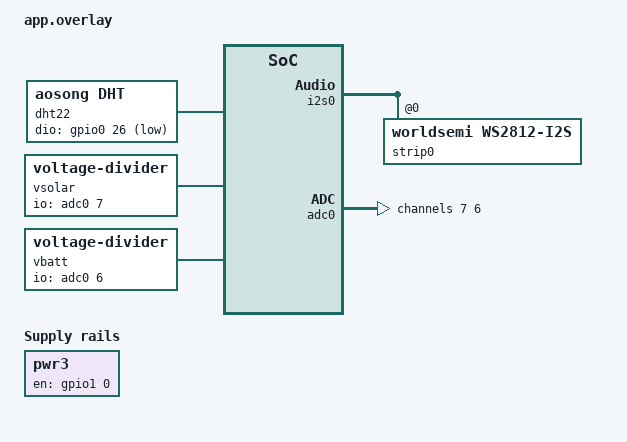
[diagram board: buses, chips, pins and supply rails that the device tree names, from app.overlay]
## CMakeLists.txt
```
cmake_minimum_required(VERSION 3.20.0)

find_package(Zephyr REQUIRED HINTS $ENV{ZEPHYR_BASE})
project(solar-node)

target_sources(app PRIVATE 
    src/main.cpp
    src/wifi_autoconnect.c
    src/mqtt_client.c
    src/dht_sensor.c
    src/output_control.c
    src/battery_soc.c
)
```

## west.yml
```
manifest:
  remotes:
    - name: zephyrproject-rtos
      url-base: https://github.com/zephyrproject-rtos
  projects:
    - name: zephyr
      remote: zephyrproject-rtos
      revision: v4.4.0
      import: true
  self:
    path: solar-node
```

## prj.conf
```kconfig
# Console & Logging Configuration
CONFIG_CONSOLE=y
CONFIG_UART_CONSOLE=y
CONFIG_LOG=y
CONFIG_LOG_DEFAULT_LEVEL=3

# Zephyr Shell over UART
CONFIG_SHELL=y
CONFIG_SHELL_BACKEND_SERIAL=y
CONFIG_SHELL_PROMPT_UART="solar-node:~$ "
CONFIG_SHELL_BACKEND_SERIAL_CHECK_DTR=n
CONFIG_SHELL_VT100_COMMANDS=n
CONFIG_LOG_BACKEND_SHOW_COLOR=n
CONFIG_NET_SHELL=y
CONFIG_NET_L2_WIFI_SHELL=y

# Subsystem Dependencies
CONFIG_GPIO=y

# Stack & Heap Sizes
CONFIG_MAIN_STACK_SIZE=8192

# C++ Support
CONFIG_CPP=y
CONFIG_STD_CPP17=y
CONFIG_GLIBCXX_LIBCPP=y

CONFIG_LED_STRIP=y
CONFIG_I2S=y
CONFIG_WS2812_STRIP_I2S=y

CONFIG_I2C=y

CONFIG_CBPRINTF_FP_SUPPORT=y

# Networking & WiFi 
CONFIG_EARLY_CONSOLE=y
CONFIG_NETWORKING=y
CONFIG_TEST_RANDOM_GENERATOR=y

# Stack Sizes for Networking
CONFIG_NET_TX_STACK_SIZE=2048
CONFIG_NET_RX_STACK_SIZE=2048

# Network Buffers and Contexts
CONFIG_NET_PKT_RX_COUNT=10
CONFIG_NET_PKT_TX_COUNT=20
CONFIG_NET_BUF_RX_COUNT=20
CONFIG_NET_BUF_TX_COUNT=40
CONFIG_NET_MAX_CONTEXTS=10

# IPv4 and DHCP
CONFIG_NET_IPV4=y
CONFIG_NET_DHCPV4=y

# TCP/IP Protocols
CONFIG_NET_TCP=y
CONFIG_NET_UDP=y

# WiFi Configuration
CONFIG_WIFI=y
CONFIG_WIFI_LOG_LEVEL_INF=y
CONFIG_NET_L2_WIFI_MGMT=y
CONFIG_NET_L2_ETHERNET=y

# ESP32 WiFi Station Mode (Auto DHCP)
CONFIG_ESP32_WIFI_STA_AUTO_DHCPV4=y
CONFIG_ESP32_WIFI_STA_RECONNECT=n

# Event Queue Management
CONFIG_NET_MGMT_EVENT_QUEUE_TIMEOUT=5000
CONFIG_NET_MGMT_EVENT_QUEUE_SIZE=16

# DNS Resolver
CONFIG_DNS_RESOLVER=y
CONFIG_DNS_RESOLVER_AUTO_INIT=y

# MQTT Configuration (Phase 3)
CONFIG_MQTT_LIB=y

# Power Management (Phase 4) - Disabled for now due to linking issues
# CONFIG_PM=y
# CONFIG_PM_DEVICE=y

# ADC Configuration (Phase 2)
CONFIG_ADC=y
CONFIG_SENSOR=y

# Voltage-divider sensor driver — auto-enabled by DT nodes; explicit for clarity (Phase 3)
CONFIG_VOLTAGE_DIVIDER=y

# DHT22 Temperature & Humidity (Phase 1)
CONFIG_DHT=y

# Pwr 3 MOSFET switch via regulator-fixed (Phase 2)
CONFIG_REGULATOR=y
CONFIG_REGULATOR_SHELL=y
```

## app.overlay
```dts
#include <zephyr/dt-bindings/led/led.h>
#include <zephyr/dt-bindings/pinctrl/esp32-pinctrl.h>
#include <zephyr/dt-bindings/adc/adc.h>
#include <zephyr/dt-bindings/gpio/gpio.h>

/ {
	aliases {
		led-strip = &strip0;
	};

	dht22: dht22 {
		compatible = "aosong,dht";
		dio-gpios = <&gpio0 26 (GPIO_ACTIVE_LOW | GPIO_OPEN_DRAIN)>;
		dht22;
		status = "okay";
	};

	/* Solar panel input voltage: J2 / IO35, ADC1 ch7.
	 * Physical divider: R_bottom = 10kΩ, R_top = 100kΩ → ratio 11.0×.
	 * Note: readings may not match multimeter due to resistor tolerances and
	 * ESP32 ADC non-linearity. Recalibrate full-ohms against a known voltage if needed. */
	vsolar: vsolar {
		compatible = "voltage-divider";
		io-channels = <&adc0 7>;
		output-ohms = <10000>;
		full-ohms = <110000>;
		skip-calibration;
		status = "okay";
	};

	/* Battery voltage: J3 / IO34, ADC1 ch6.
	 * Physical divider: R_bottom = 10kΩ, R_top = 47kΩ → ratio 5.7×. */
	vbatt: vbatt {
		compatible = "voltage-divider";
		io-channels = <&adc0 6>;
		output-ohms = <10000>;
		full-ohms = <57000>;
		skip-calibration;
		status = "okay";
	};

	/* Pwr 3 (J16) — N-channel MOSFET low-side switch on IO32 (gpio1 pin 0).
	 * Exposed as a regulator so it is controllable from the shell:
	 *   regulator enable pwr3
	 *   regulator disable pwr3 */
	pwr3: pwr3 {
		compatible = "regulator-fixed";
		regulator-name = "pwr3";
		enable-gpios = <&gpio1 0 GPIO_ACTIVE_HIGH>;
		status = "okay";
	};
};

&i2s0_default {
	group1 {
		pinmux = <I2S0_O_WS_GPIO16>,
			 <I2S0_O_BCK_GPIO4>,
			 <I2S0_O_SD_GPIO2>,
			 <I2S0_I_SD_GPIO17>;
	};
};

&i2s0 {
	status = "okay";

	strip0: ws2812@0 {
		compatible = "worldsemi,ws2812-i2s";
		reg = <0>;
		chain-length = <1>;
		color-mapping = <LED_COLOR_ID_GREEN
				 LED_COLOR_ID_RED
				 LED_COLOR_ID_BLUE>;
		reset-delay = <500>;
	};
};

&adc0 {
	status = "okay";
	#address-cells = <1>;
	#size-cells = <0>;

	/* Solar Panel Voltage: J2 Header -> IO35 (ADC1 Channel 7)
	 * Referenced by vsolar voltage-divider node. */
	channel@7 {
		reg = <7>;
		zephyr,gain = "ADC_GAIN_1_4";
		zephyr,reference = "ADC_REF_INTERNAL";
		zephyr,acquisition-time = <ADC_ACQ_TIME_DEFAULT>;
		zephyr,resolution = <12>;
	};

	/* Battery Voltage: J3 Header -> IO34 (ADC1 Channel 6)
	 * Referenced by vbatt voltage-divider node. */
	channel@6 {
		reg = <6>;
		zephyr,gain = "ADC_GAIN_1_4";
		zephyr,reference = "ADC_REF_INTERNAL";
		zephyr,acquisition-time = <ADC_ACQ_TIME_DEFAULT>;
		zephyr,resolution = <12>;
	};
};
```

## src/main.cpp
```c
#include <zephyr/kernel.h>
#include <zephyr/drivers/led_strip.h>
#include <zephyr/drivers/gpio.h>
#include <zephyr/drivers/i2s.h>
#include <zephyr/logging/log.h>

#include "wifi_autoconnect.h"
#include "mqtt_client.h"

LOG_MODULE_REGISTER(app, LOG_LEVEL_INF);

static const struct device *const strip = DEVICE_DT_GET(DT_ALIAS(led_strip));
static const struct device *const i2s_dev = DEVICE_DT_GET(DT_NODELABEL(i2s0));

static struct led_rgb pixel_buf[4];

/* LED blink thread to isolate I2S timing from other workers. */
static struct k_thread led_thread_data;
K_THREAD_STACK_DEFINE(led_thread_stack, 1024);

static void led_blink_thread(void *p1, void *p2, void *p3)
{
    ARG_UNUSED(p1);
    ARG_UNUSED(p2);
    ARG_UNUSED(p3);

    bool blink_on = false;
    bool last_connected = false;

    while (1) {
        bool connected = wifi_autoconnect_is_connected();
        if (connected != last_connected) {
            last_connected = connected;
            blink_on = false;
        }

        blink_on = !blink_on;
        if (blink_on) {
            if (connected) {
                pixel_buf[0].r = 0x00;
                pixel_buf[0].g = 0x00;
                pixel_buf[0].b = 0x80;
            } else {
                pixel_buf[0].r = 0x00;
                pixel_buf[0].g = 0x80;
                pixel_buf[0].b = 0x00;
            }
        } else {
            pixel_buf[0].r = 0x00;
            pixel_buf[0].g = 0x00;
            pixel_buf[0].b = 0x00;
        }

        int ret = 0;
        /* Try a few times to recover from transient I/O errors. */
        for (int attempt = 0; attempt < 3; attempt++) {
            ret = led_strip_update_rgb(strip, pixel_buf, 1);
            if (ret == 0) {
                break;
            }
            LOG_ERR("led_strip_update_rgb(blink) failed (attempt %d): %d", attempt + 1, ret);
            k_msleep(50);
        }
        /* If all retries failed the I2S state machine is in ERROR. Use
         * I2S_TRIGGER_PREPARE to reset it back to READY so the next
         * blink attempt can succeed. */
        if (ret != 0) {
            i2s_trigger(i2s_dev, I2S_DIR_TX, I2S_TRIGGER_PREPARE);
        }

        k_msleep(500);
    }
}

int main(void) {
    if (!device_is_ready(strip)) {
        LOG_ERR("LED strip device is not ready");
        return 0;
    }

    LOG_INF("=== Solar Node Starting ===");
    LOG_INF("LED strip ready; WiFi auto-connect is enabled");
    LOG_INF("Shell is still available for diagnostics:");
    LOG_INF("  wifi status");
    LOG_INF("  net iface");

    int auto_connect_ret = wifi_autoconnect_start();
    if (auto_connect_ret) {
        LOG_WRN("Auto-connect request failed: %d", auto_connect_ret);
    }

    /* Initialize the Solar MQTT helper (stub implementation for now). */
    solar_mqtt_init();

    LOG_INF("LED behavior: blinking GREEN until WiFi connects, then BLUE");

    /* Start LED blink thread at slightly higher priority than telemetry workers
     * so LED timing isn't starved by network activity. */
    k_thread_create(&led_thread_data, led_thread_stack,
                    K_THREAD_STACK_SIZEOF(led_thread_stack), led_blink_thread,
                    NULL, NULL, NULL, K_PRIO_PREEMPT(6), 0, K_NO_WAIT);

    /* Main thread becomes an idle poller for WiFi/MQTT startup. */
    bool mqtt_started = false;
    bool last_connected = false;

    while (1) {
        wifi_autoconnect_poll();

        bool connected = wifi_autoconnect_is_connected();
        if (connected != last_connected) {
            last_connected = connected;
            if (connected && !mqtt_started) {
                int rc = solar_mqtt_start();
                if (rc == 0) {
                    mqtt_started = true;
                } else {
                    LOG_WRN("MQTT client failed to start: %d", rc);
                }
            }
        }

        k_msleep(200);
    }

    return 0;
}
```

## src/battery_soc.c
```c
#include "battery_soc.h"
#include <stddef.h>

/*
 * AGM / Lead-Acid 12 V discharge curve (resting open-circuit voltage).
 * Points are ordered highest to lowest voltage.
 * Linear interpolation is used between points; values outside the range
 * are clamped to 100 % (above) or 0 % (below).
 */
struct soc_point {
	float voltage;
	int   soc_pct;
};

static const struct soc_point agm_curve[] = {
	{ 12.70f, 100 },
	{ 12.50f,  90 },
	{ 12.40f,  80 },
	{ 12.20f,  70 },
	{ 12.00f,  50 },
	{ 11.90f,  40 },
	{ 11.80f,  30 },
	{ 11.70f,  20 },
	{ 11.60f,  10 },
};

#define CURVE_LEN (sizeof(agm_curve) / sizeof(agm_curve[0]))

int battery_soc_from_voltage(float v_batt)
{
	if (v_batt >= agm_curve[0].voltage) {
		return 100;
	}
	if (v_batt <= agm_curve[CURVE_LEN - 1].voltage) {
		return 0;
	}

	for (size_t i = 0; i < CURVE_LEN - 1; i++) {
		float vhi = agm_curve[i].voltage;
		float vlo = agm_curve[i + 1].voltage;

		if (v_batt <= vhi && v_batt >= vlo) {
			float frac = (v_batt - vlo) / (vhi - vlo);
			int phi = agm_curve[i].soc_pct;
			int plo = agm_curve[i + 1].soc_pct;
			return (int)(plo + frac * (float)(phi - plo) + 0.5f);
		}
	}

	return 0;
}
```

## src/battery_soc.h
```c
#ifndef SRC_BATTERY_SOC_H_
#define SRC_BATTERY_SOC_H_

/*
 * Battery State of Charge estimation for 12V Lead-Acid / AGM batteries.
 *
 * SoC is derived from resting open-circuit voltage using a piecewise linear
 * interpolation over a measured AGM discharge curve. Readings are only valid
 * when the battery is at rest (no charge or load current). Call-site code is
 * responsible for detecting the charging condition and clamping SoC to 100.
 */

/* Returns estimated SoC in the range [0, 100].
 * Clamps below 11.60 V to 0 and above 12.70 V to 100. */
int battery_soc_from_voltage(float v_batt);

#endif /* SRC_BATTERY_SOC_H_ */
```

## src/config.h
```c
#ifndef SRC_CONFIG_H_
#define SRC_CONFIG_H_

// WiFi Configuration
#define WIFI_SSID "ChlumNet"
#define WIFI_PASSWORD "W!f!P@ssword"

// MQTT Configuration
#define MQTT_BROKER_HOST "192.168.1.182"
#define MQTT_BROKER_PORT 1883
// Optional MQTT auth (leave empty to disable)
#define MQTT_USERNAME "admin"
#define MQTT_PASSWORD "deutschland"

// MQTT client identifier and Home Assistant prefix
#define MQTT_CLIENT_ID "solar_node"
#define MQTT_DISCOVERY_PREFIX "homeassistant"

// Device Configuration
#define DEVICE_ID "solar_node"
#define DEVICE_NAME "Solar Node"

#endif /* SRC_CONFIG_H_ */
```

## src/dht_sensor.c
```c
#include "dht_sensor.h"

#include <zephyr/device.h>
#include <zephyr/drivers/sensor.h>
#include <zephyr/logging/log.h>

LOG_MODULE_REGISTER(dht_sensor, LOG_LEVEL_INF);

static const struct device *const dht22_dev = DEVICE_DT_GET(DT_NODELABEL(dht22));

int dht_sensor_init(void)
{
	if (!device_is_ready(dht22_dev)) {
		LOG_ERR("DHT22 device not ready");
		return -ENODEV;
	}
	LOG_INF("DHT22 ready on IO26");
	return 0;
}

int dht_sensor_read(float *temp_c, float *humidity_pct)
{
	int rc = sensor_sample_fetch(dht22_dev);
	if (rc < 0) {
		LOG_WRN("DHT22 sample fetch failed: %d", rc);
		return rc;
	}

	struct sensor_value temp, humidity;

	rc = sensor_channel_get(dht22_dev, SENSOR_CHAN_AMBIENT_TEMP, &temp);
	if (rc < 0) {
		LOG_WRN("DHT22 temp channel read failed: %d", rc);
		return rc;
	}

	rc = sensor_channel_get(dht22_dev, SENSOR_CHAN_HUMIDITY, &humidity);
	if (rc < 0) {
		LOG_WRN("DHT22 humidity channel read failed: %d", rc);
		return rc;
	}

	/* sensor_value: val1 = integer part, val2 = micro (1e-6) fractional part */
	*temp_c       = (float)temp.val1     + (float)temp.val2     / 1000000.0f;
	*humidity_pct = (float)humidity.val1 + (float)humidity.val2 / 1000000.0f;
	return 0;
}
```

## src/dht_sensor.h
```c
#ifndef SRC_DHT_SENSOR_H_
#define SRC_DHT_SENSOR_H_

/* Returns 0 on success, negative errno on failure. */
int dht_sensor_init(void);
int dht_sensor_read(float *temp_c, float *humidity_pct);

#endif /* SRC_DHT_SENSOR_H_ */
```

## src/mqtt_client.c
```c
/* Full MQTT client: plain (non-TLS) connection with RSSI, Solar V, Battery V,
 * Battery SoC, Battery Status, Temperature, and Humidity telemetry.
 * - resolves MQTT_BROKER_HOST
 * - connects to broker, sets LWT to solar_node/availability (offline retained)
 * - reads solar/battery voltage via voltage-divider sensor nodes (vsolar, vbatt)
 * - computes battery SoC from AGM discharge curve; detects charging state
 * - reads DHT22 on IO26 for temperature and humidity
 */

#include "mqtt_client.h"
#include "config.h"
#include "wifi_autoconnect.h"
#include "dht_sensor.h"
#include "output_control.h"
#include "battery_soc.h"

#include <zephyr/kernel.h>
#include <zephyr/logging/log.h>
#include <zephyr/net/socket.h>
#include <zephyr/net/mqtt.h>
#include <zephyr/net/net_if.h>
#include <zephyr/net/net_mgmt.h>
#include <zephyr/net/wifi_mgmt.h>
#include <zephyr/drivers/sensor.h>
#include <zephyr/devicetree.h>
#include <stdint.h>
#include <stdbool.h>
#include <stddef.h>
#include <errno.h>
#include <string.h>
#include <stdio.h>

LOG_MODULE_REGISTER(solar_mqtt, LOG_LEVEL_INF);

/* Voltage sensor devices from DT voltage-divider nodes */
static const struct device *const dev_vsolar = DEVICE_DT_GET(DT_NODELABEL(vsolar));
static const struct device *const dev_vbatt  = DEVICE_DT_GET(DT_NODELABEL(vbatt));

/* AGM battery SoC thresholds */
#define BATT_FULL_VOLTAGE_V   12.70f  /* resting voltage at 100 % SoC */
#define CHARGING_SOLAR_DELTA   0.10f  /* solar must exceed battery by this to be "Charging" */

/* Buffers and client instance */
static struct mqtt_client client;
static uint8_t rx_buffer[512];
static uint8_t tx_buffer[512];

/* WiFi scan helpers */
static struct net_mgmt_event_callback scan_cb;
static struct k_sem scan_sem;
static int8_t last_rssi = INT8_MIN;

/* Worker thread that performs periodic scans, reads ADCs, and publishes telemetry */
static struct k_thread mqtt_thread_data;
K_THREAD_STACK_DEFINE(mqtt_thread_stack, 4096);

/* Separate MQTT I/O thread to process CONNACK, PINGRESP and disconnects */
static struct k_thread mqtt_io_thread_data;
K_THREAD_STACK_DEFINE(mqtt_io_thread_stack, 3072);

static bool started;
static volatile bool mqtt_connected = false;

static int mqtt_do_connect(void);

/* Reads scaled voltage from a voltage-divider sensor node.
 * The driver handles ADC channel setup, calibration, and ratio scaling. */
static int read_sensor_voltage(const struct device *dev, float *out_volts)
{
	if (!device_is_ready(dev)) {
		LOG_ERR("Voltage sensor %s not ready", dev->name);
		return -ENODEV;
	}

	int ret = sensor_sample_fetch(dev);
	if (ret < 0) {
		LOG_ERR("sensor_sample_fetch(%s) failed: %d", dev->name, ret);
		return ret;
	}

	struct sensor_value val;
	ret = sensor_channel_get(dev, SENSOR_CHAN_VOLTAGE, &val);
	if (ret < 0) {
		LOG_ERR("sensor_channel_get(%s) failed: %d", dev->name, ret);
		return ret;
	}

	/* sensor_value for SENSOR_CHAN_VOLTAGE: val1 = integer volts, val2 = µV fraction */
	*out_volts = (float)val.val1 + (float)val.val2 / 1000000.0f;
	return 0;
}

static int mqtt_socket_fd(const struct mqtt_client *c)
{
	if (c->transport.type == MQTT_TRANSPORT_NON_SECURE) {
		return c->transport.tcp.sock;
	}
#if defined(CONFIG_MQTT_LIB_TLS)
	if (c->transport.type == MQTT_TRANSPORT_SECURE) {
		return c->transport.tls.sock;
	}
#endif
	return -1;
}

static void mqtt_io_worker(void *p1, void *p2, void *p3)
{
	ARG_UNUSED(p1);
	ARG_UNUSED(p2);
	ARG_UNUSED(p3);

	while (1) {
		int fd = mqtt_socket_fd(&client);
		if (fd < 0) {
			if (wifi_autoconnect_is_connected() && started && !mqtt_connected) {
				/* WiFi is up but socket is gone — reconnect */
				k_msleep(5000);
				LOG_INF("MQTT reconnecting...");
				mqtt_do_connect();
			} else {
				k_msleep(250);
			}
			continue;
		}

		int timeout = mqtt_keepalive_time_left(&client);
		if (timeout < 0 || timeout > 1000) {
			timeout = 1000;
		}

		struct zsock_pollfd pfd = {
			.fd = fd,
			.events = ZSOCK_POLLIN,
			.revents = 0,
		};

		int prc = zsock_poll(&pfd, 1, timeout);
		if (prc < 0) {
			LOG_WRN("mqtt poll failed: %d", errno);
			k_msleep(250);
			continue;
		}

		if (prc > 0 && (pfd.revents & ZSOCK_POLLIN)) {
			int irc = mqtt_input(&client);
			if (irc && irc != -EAGAIN) {
				LOG_WRN("mqtt_input failed: %d", irc);
			}
		}

		if (prc > 0 && (pfd.revents & (ZSOCK_POLLERR | ZSOCK_POLLHUP | ZSOCK_POLLNVAL))) {
			LOG_WRN("mqtt socket event: revents=0x%x", pfd.revents);
			mqtt_connected = false;
		}

		int lrc = mqtt_live(&client);
		if (lrc && lrc != -EAGAIN) {
			LOG_WRN("mqtt_live failed: %d", lrc);
		}
	}
}

static void mqtt_publish_str(const char *topic_str, const char *payload, bool retain)
{
	struct mqtt_publish_param param;
	memset(&param, 0, sizeof(param));

	struct mqtt_utf8 topic = {
		.utf8 = (const uint8_t *)topic_str,
		.size = strlen(topic_str)
	};

	param.message.topic.topic = topic;
	param.message.topic.qos = MQTT_QOS_0_AT_MOST_ONCE;
	param.message.payload.data = (uint8_t *)payload;
	param.message.payload.len = strlen(payload);
	param.message_id = (uint16_t)(k_cycle_get_32() & 0xffff);
	param.retain_flag = retain ? 1 : 0;

	int rc = mqtt_publish(&client, &param);
	if (rc) {
		LOG_WRN("mqtt_publish to %s failed: %d", topic_str, rc);
	} else {
		LOG_INF("Published -> %s: %s", topic_str, payload);
	}
}

static void publish_telemetry(float solar_v, float battery_v,
			      int soc,
			      bool dht_ok, float temp_c, float humidity_pct)
{
	char payload[32];

	/* 1. RSSI */
	if (last_rssi != INT8_MIN) {
		snprintf(payload, sizeof(payload), "%d", last_rssi);
		mqtt_publish_str("solar_node/sensor/rssi/state", payload, false);
	}

	/* 2. Solar Voltage */
	snprintf(payload, sizeof(payload), "%.2f", solar_v);
	mqtt_publish_str("solar_node/sensor/solar_voltage/state", payload, false);

	/* 3. Battery Voltage */
	snprintf(payload, sizeof(payload), "%.2f", battery_v);
	mqtt_publish_str("solar_node/sensor/battery_voltage/state", payload, false);

	/* 4. Battery SoC — clamped to 100 when charging or at full resting voltage */
	snprintf(payload, sizeof(payload), "%d", soc);
	mqtt_publish_str("solar_node/sensor/battery_soc/state", payload, false);

	/* 5 & 6. Temperature and Humidity (skipped if DHT22 read failed) */
	if (dht_ok) {
		snprintf(payload, sizeof(payload), "%.1f", temp_c);
		mqtt_publish_str("solar_node/sensor/temperature/state", payload, false);

		snprintf(payload, sizeof(payload), "%.1f", humidity_pct);
		mqtt_publish_str("solar_node/sensor/humidity/state", payload, false);
	}
}

static void mqtt_event_handler(struct mqtt_client *const c, const struct mqtt_evt *evt)
{
	ARG_UNUSED(c);

	LOG_INF("mqtt_event_handler: type=%d result=%d", evt->type, evt->result);

	switch (evt->type) {
	case MQTT_EVT_CONNACK:
		if (evt->result == 0 && evt->param.connack.return_code == MQTT_CONNECTION_ACCEPTED) {
			LOG_INF("MQTT connected (CONNACK OK)");
			mqtt_connected = true;

			/* Availability: online (retained) */
			mqtt_publish_str("solar_node/availability", "online", true);

			/* Subscribe to the switch command topic */
			static struct mqtt_topic lights_cmd_topic = {
				.topic = MQTT_UTF8_LITERAL("solar_node/switch/lights/command"),
				.qos = MQTT_QOS_0_AT_MOST_ONCE,
			};
			struct mqtt_subscription_list lights_sub = {
				.list = &lights_cmd_topic,
				.list_count = 1,
				.message_id = 1,
			};
			int sub_rc = mqtt_subscribe(&client, &lights_sub);
			if (sub_rc) {
				LOG_WRN("mqtt_subscribe(lights command) failed: %d", sub_rc);
			} else {
				LOG_INF("Subscribed to solar_node/switch/lights/command");
			}

			/* Home Assistant Discovery */
			static const char disc_rssi[] =
				"{\"name\":\"RSSI\","
				"\"state_topic\":\"solar_node/sensor/rssi/state\","
				"\"unit_of_measurement\":\"dBm\","
				"\"device_class\":\"signal_strength\","
				"\"value_template\":\"{{ value }}\","
				"\"unique_id\":\"solar_node_rssi\","
				"\"device\":{\"identifiers\":[\"solar_node\"],\"name\":\"Solar Node\"}}";

			static const char disc_solar[] =
				"{\"name\":\"Solar Voltage\","
				"\"state_topic\":\"solar_node/sensor/solar_voltage/state\","
				"\"unit_of_measurement\":\"V\","
				"\"device_class\":\"voltage\","
				"\"suggested_display_precision\":2,"
				"\"value_template\":\"{{ value }}\","
				"\"unique_id\":\"solar_node_solar_v\","
				"\"device\":{\"identifiers\":[\"solar_node\"],\"name\":\"Solar Node\"}}";

			static const char disc_battery[] =
				"{\"name\":\"Battery Voltage\","
				"\"state_topic\":\"solar_node/sensor/battery_voltage/state\","
				"\"unit_of_measurement\":\"V\","
				"\"device_class\":\"voltage\","
				"\"suggested_display_precision\":2,"
				"\"value_template\":\"{{ value }}\","
				"\"unique_id\":\"solar_node_battery_v\","
				"\"device\":{\"identifiers\":[\"solar_node\"],\"name\":\"Solar Node\"}}";

			static const char disc_temp[] =
				"{\"name\":\"Temperature\","
				"\"state_topic\":\"solar_node/sensor/temperature/state\","
				"\"unit_of_measurement\":\"°C\","
				"\"device_class\":\"temperature\","
				"\"suggested_display_precision\":1,"
				"\"value_template\":\"{{ value }}\","
				"\"unique_id\":\"solar_node_temp\","
				"\"device\":{\"identifiers\":[\"solar_node\"],\"name\":\"Solar Node\"}}";

			static const char disc_humidity[] =
				"{\"name\":\"Humidity\","
				"\"state_topic\":\"solar_node/sensor/humidity/state\","
				"\"unit_of_measurement\":\"%\","
				"\"device_class\":\"humidity\","
				"\"suggested_display_precision\":1,"
				"\"value_template\":\"{{ value }}\","
				"\"unique_id\":\"solar_node_humidity\","
				"\"device\":{\"identifiers\":[\"solar_node\"],\"name\":\"Solar Node\"}}";

			static const char disc_lights[] =
				"{\"name\":\"Lights\","
				"\"command_topic\":\"solar_node/switch/lights/command\","
				"\"state_topic\":\"solar_node/switch/lights/state\","
				"\"payload_on\":\"ON\","
				"\"payload_off\":\"OFF\","
				"\"retain\":true,"
				"\"unique_id\":\"solar_node_lights\","
				"\"device\":{\"identifiers\":[\"solar_node\"],\"name\":\"Solar Node\"}}";

			static const char disc_battery_soc[] =
				"{\"name\":\"Battery SoC\","
				"\"state_topic\":\"solar_node/sensor/battery_soc/state\","
				"\"unit_of_measurement\":\"%\","
				"\"device_class\":\"battery\","
				"\"suggested_display_precision\":0,"
				"\"value_template\":\"{{ value }}\","
				"\"unique_id\":\"solar_node_battery_soc\","
				"\"device\":{\"identifiers\":[\"solar_node\"],\"name\":\"Solar Node\"}}";

			/* Yield between each discovery publish — rapid back-to-back sends
			 * exhaust the TCP TX buffers and cause the broker to drop the connection. */
			mqtt_publish_str("homeassistant/sensor/solar_node/rssi/config", disc_rssi, true);
			k_msleep(100);
			mqtt_publish_str("homeassistant/sensor/solar_node/solar_voltage/config", disc_solar, true);
			k_msleep(100);
			mqtt_publish_str("homeassistant/sensor/solar_node/battery_voltage/config", disc_battery, true);
			k_msleep(100);
			mqtt_publish_str("homeassistant/sensor/solar_node/temperature/config", disc_temp, true);
			k_msleep(100);
			mqtt_publish_str("homeassistant/sensor/solar_node/humidity/config", disc_humidity, true);
			k_msleep(100);
			mqtt_publish_str("homeassistant/switch/solar_node/lights/config", disc_lights, true);
			k_msleep(100);
			mqtt_publish_str("homeassistant/sensor/solar_node/battery_soc/config", disc_battery_soc, true);
			mqtt_publish_str("solar_node/switch/lights/state", "OFF", true);

		} else {
			LOG_WRN("MQTT CONNACK failed (%d) rc=%d", evt->result, evt->param.connack.return_code);
		}
		break;
	case MQTT_EVT_PUBLISH:
		{
			/* In Zephyr MQTT, payload.data is always NULL on receive.
			 * The bytes live in the TCP socket buffer and must be read
			 * with mqtt_read_publish_payload_blocking(). Drain ALL bytes
			 * regardless of topic to keep the stream in sync. */
			size_t total_len = evt->param.publish.message.payload.len;
			char payload_buf[16];
			size_t read_len = MIN(total_len, sizeof(payload_buf) - 1);

			int bytes_read = mqtt_read_publish_payload_blocking(
				&client, payload_buf, read_len);
			if (bytes_read < 0) {
				LOG_WRN("mqtt_read_publish_payload failed: %d", bytes_read);
				break;
			}
			payload_buf[bytes_read] = '\0';

			/* Drain any bytes beyond our buffer to keep the stream in sync */
			size_t remaining = total_len - (size_t)bytes_read;
			while (remaining > 0) {
				char drain[32];
				size_t chunk = MIN(remaining, sizeof(drain));
				int rc = mqtt_read_publish_payload_blocking(&client, drain, chunk);
				if (rc <= 0) {
					break;
				}
				remaining -= (size_t)rc;
			}

			const struct mqtt_topic *topic = &evt->param.publish.message.topic;
			if (topic->topic.size == strlen("solar_node/switch/lights/command") &&
			    memcmp(topic->topic.utf8, "solar_node/switch/lights/command",
				   topic->topic.size) == 0) {
				bool light_on;
				if (strcmp(payload_buf, "ON") == 0) {
					light_on = true;
				} else if (strcmp(payload_buf, "OFF") == 0) {
					light_on = false;
				} else {
					LOG_WRN("Unhandled lights payload: %s", payload_buf);
					break;
				}

				int rc = output_control_set(light_on);
				if (rc == 0) {
					mqtt_publish_str("solar_node/switch/lights/state",
							 light_on ? "ON" : "OFF", true);
				}
			}
		}
		break;
	case MQTT_EVT_DISCONNECT:
		LOG_WRN("MQTT disconnected: %d", evt->result);
		mqtt_connected = false;
		break;
	default:
		break;
	}
}

static void scan_event_cb(struct net_mgmt_event_callback *cb,
			  uint64_t mgmt_event,
			  struct net_if *iface)
{
	ARG_UNUSED(iface);

	if (mgmt_event == NET_EVENT_WIFI_SCAN_RESULT) {
		if (!cb->info) {
			return;
		}
		const struct wifi_scan_result *res = (const struct wifi_scan_result *)cb->info;
		if (res->ssid_length && (res->ssid_length == strlen(WIFI_SSID)) &&
		    (memcmp(res->ssid, WIFI_SSID, res->ssid_length) == 0)) {
			last_rssi = res->rssi;
			LOG_INF("scan_event_cb: Found SSID '%s' RSSI=%d", WIFI_SSID, last_rssi);
		} else {
			LOG_DBG("scan_event_cb: scan result for SSID len=%d", res->ssid_length);
		}
	} else if (mgmt_event == NET_EVENT_WIFI_SCAN_DONE) {
		LOG_INF("scan_event_cb: scan done");
		k_sem_give(&scan_sem);
	}
}

static void mqtt_worker(void *p1, void *p2, void *p3)
{
	ARG_UNUSED(p1);
	ARG_UNUSED(p2);
	ARG_UNUSED(p3);

	while (1) {
		/* Wait until connected to WiFi and MQTT broker */
		if (!wifi_autoconnect_is_connected() || !mqtt_connected) {
			k_msleep(2000);
			continue;
		}

		/* Trigger WiFi scan for RSSI */
		struct wifi_scan_params params = { 0 };
		params.scan_type = WIFI_SCAN_TYPE_ACTIVE;
		params.max_bss_cnt = 20;

		struct net_if *iface = net_if_get_default();
		if (!iface) {
			k_msleep(5000);
			continue;
		}

		last_rssi = INT8_MIN;
		int rc = net_mgmt(NET_REQUEST_WIFI_SCAN, iface, &params, sizeof(params));
		if (rc) {
			LOG_WRN("Failed to request WiFi scan: %d", rc);
		} else {
			/* Wait for scan done or timeout */
			if (k_sem_take(&scan_sem, K_SECONDS(10)) != 0) {
				LOG_WRN("WiFi scan timed out");
			}
			/* ESP32 WiFi ISRs run above RTOS IRQ lock level; wait for them to settle
			 * before the DHT22 1-wire read or timing errors cause EIO. */
			k_msleep(500);
		}

		/* Read voltages via voltage-divider sensor nodes */
		float solar_v = 0.0f;
		float battery_v = 0.0f;

		int err = read_sensor_voltage(dev_vsolar, &solar_v);
		if (err) {
			LOG_ERR("Failed to read Solar Voltage: %d", err);
		}

		err = read_sensor_voltage(dev_vbatt, &battery_v);
		if (err) {
			LOG_ERR("Failed to read Battery Voltage: %d", err);
		}

		/* Compute battery SoC; clamp to 100 when solar is actively charging
		 * or battery is at/above its full resting voltage. */
		int soc;

		if (solar_v > battery_v + CHARGING_SOLAR_DELTA ||
		    battery_v >= BATT_FULL_VOLTAGE_V) {
			soc = 100;
		} else {
			soc = battery_soc_from_voltage(battery_v);
		}

		/* Read DHT22 Temperature & Humidity */
		float temp_c = 0.0f;
		float humidity_pct = 0.0f;
		bool dht_ok = (dht_sensor_read(&temp_c, &humidity_pct) == 0);

		/* Publish all gathered telemetry */
		publish_telemetry(solar_v, battery_v, soc, dht_ok, temp_c, humidity_pct);

		/* Publish cycle every 60 seconds */
		k_msleep(60000);
	}
}

void solar_mqtt_init(void)
{
	if (started) {
		return;
	}

	mqtt_client_init(&client);
	client.evt_cb = mqtt_event_handler;
	client.protocol_version = MQTT_VERSION_3_1_1;
	client.rx_buf = rx_buffer;
	client.rx_buf_size = sizeof(rx_buffer);
	client.tx_buf = tx_buffer;
	client.tx_buf_size = sizeof(tx_buffer);
	client.clean_session = 1;
	client.keepalive = 60;
	client.transport.type = MQTT_TRANSPORT_NON_SECURE;

	/* LWT */
	static struct mqtt_utf8 will_msg = MQTT_UTF8_LITERAL("offline");
	static struct mqtt_utf8 will_topic = MQTT_UTF8_LITERAL("solar_node/availability");
	static struct mqtt_topic will_t;
	will_t.topic = will_topic;
	will_t.qos = MQTT_QOS_0_AT_MOST_ONCE;
	client.will_topic = &will_t;
	client.will_message = &will_msg;
	client.will_retain = 1;

	k_sem_init(&scan_sem, 0, 1);

	if (!device_is_ready(dev_vsolar)) {
		LOG_ERR("vsolar voltage sensor not ready");
	}
	if (!device_is_ready(dev_vbatt)) {
		LOG_ERR("vbatt voltage sensor not ready");
	}

	dht_sensor_init();
	if (output_control_init() < 0) {
		LOG_WRN("Output control init failed; switch will remain unavailable");
	}

	/* Register scan callbacks */
	net_mgmt_init_event_callback(&scan_cb, scan_event_cb,
				     NET_EVENT_WIFI_SCAN_RESULT | NET_EVENT_WIFI_SCAN_DONE);
	net_mgmt_add_event_callback(&scan_cb);

	started = true;
}

/* Resolves broker address and opens the MQTT TCP connection. Called at startup
 * and by mqtt_io_worker on reconnect; does not spawn threads. */
static int mqtt_do_connect(void)
{
	LOG_INF("Connecting to MQTT broker %s:%d", MQTT_BROKER_HOST, MQTT_BROKER_PORT);

	struct zsock_addrinfo *res = NULL;
	char service[8];
	snprintf(service, sizeof(service), "%d", MQTT_BROKER_PORT);

	int gai = zsock_getaddrinfo(MQTT_BROKER_HOST, service, NULL, &res);
	if (gai == 0 && res) {
		struct sockaddr_in *addr = (struct sockaddr_in *)res->ai_addr;
		static struct sockaddr_in broker_addr_dns;
		broker_addr_dns = *addr;
		broker_addr_dns.sin_port = htons(MQTT_BROKER_PORT);
		client.broker = (struct sockaddr *)&broker_addr_dns;
	} else {
		/* Fallback: parse MQTT_BROKER_HOST as a numeric IPv4 address */
		static struct sockaddr_in broker_addr_static;
		memset(&broker_addr_static, 0, sizeof(broker_addr_static));
		int p = zsock_inet_pton(AF_INET, MQTT_BROKER_HOST,
					&broker_addr_static.sin_addr);
		if (p == 1) {
			broker_addr_static.sin_family = AF_INET;
			broker_addr_static.sin_port = htons(MQTT_BROKER_PORT);
			client.broker = (struct sockaddr *)&broker_addr_static;
		} else {
			LOG_ERR("DNS resolution failed for %s: %d", MQTT_BROKER_HOST, gai);
			zsock_freeaddrinfo(res);
			return -ENOTCONN;
		}
	}

	client.client_id = MQTT_UTF8_LITERAL(MQTT_CLIENT_ID);

	static struct mqtt_utf8 username_utf8;
	static struct mqtt_utf8 password_utf8;
	if (strlen(MQTT_USERNAME) > 0) {
		username_utf8.utf8 = (const uint8_t *)MQTT_USERNAME;
		username_utf8.size = strlen(MQTT_USERNAME);
		client.user_name = &username_utf8;
	}
	if (strlen(MQTT_PASSWORD) > 0) {
		password_utf8.utf8 = (const uint8_t *)MQTT_PASSWORD;
		password_utf8.size = strlen(MQTT_PASSWORD);
		client.password = &password_utf8;
	}

	int rc = mqtt_connect(&client);
	zsock_freeaddrinfo(res);
	if (rc == 0) {
		char ipbuf[40] = {0};
		struct sockaddr_in *sin = (struct sockaddr_in *)client.broker;
		zsock_inet_ntop(AF_INET, &sin->sin_addr, ipbuf, sizeof(ipbuf));
		LOG_INF("MQTT TCP connected to %s:%d", ipbuf, MQTT_BROKER_PORT);
	} else {
		LOG_ERR("mqtt_connect() failed: %d", rc);
	}
	return rc;
}

int solar_mqtt_start(void)
{
	if (!started) {
		return -EINVAL;
	}

	int rc = mqtt_do_connect();
	if (rc) {
		return rc;
	}

	/* Start I/O thread first so CONNACK and keepalives are processed. */
	k_thread_create(&mqtt_io_thread_data, mqtt_io_thread_stack,
			K_THREAD_STACK_SIZEOF(mqtt_io_thread_stack), mqtt_io_worker,
			NULL, NULL, NULL, K_PRIO_PREEMPT(7), 0, K_NO_WAIT);
	LOG_INF("mqtt_io thread started");

	/* Start telemetry worker thread. */
	k_thread_create(&mqtt_thread_data, mqtt_thread_stack,
			K_THREAD_STACK_SIZEOF(mqtt_thread_stack), mqtt_worker,
			NULL, NULL, NULL, K_PRIO_PREEMPT(7), 0, K_NO_WAIT);
	LOG_INF("mqtt_worker thread started");

	return 0;
}
```

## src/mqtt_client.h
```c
/* MQTT client interface for Solar Node */
#ifndef SRC_MQTT_CLIENT_H_
#define SRC_MQTT_CLIENT_H_

#ifdef __cplusplus
extern "C" {
#endif

void solar_mqtt_init(void);
int solar_mqtt_start(void);

#ifdef __cplusplus
}
#endif

#endif /* SRC_MQTT_CLIENT_H_ */
```

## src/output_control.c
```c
#include "output_control.h"

#include <zephyr/drivers/regulator.h>
#include <zephyr/logging/log.h>

LOG_MODULE_REGISTER(output_control, LOG_LEVEL_INF);

static const struct device *const pwr3_reg = DEVICE_DT_GET(DT_NODELABEL(pwr3));

int output_control_init(void)
{
	if (!device_is_ready(pwr3_reg)) {
		LOG_ERR("Pwr3 regulator device not ready");
		return -ENODEV;
	}
	LOG_INF("Lights output ready on IO32/Pwr3 (regulator-fixed)");
	return 0;
}

int output_control_set(bool on)
{
	/* Guard against double-enable / double-disable, which would
	 * corrupt the regulator reference count and cause errors.
	 * This also keeps MQTT and shell in sync — either path can
	 * toggle the output and the other sees the correct state. */
	if ((bool)regulator_is_enabled(pwr3_reg) == on) {
		return 0;
	}

	int ret = on ? regulator_enable(pwr3_reg) : regulator_disable(pwr3_reg);
	if (ret < 0) {
		LOG_ERR("Failed to %s Pwr3: %d", on ? "enable" : "disable", ret);
		return ret;
	}

	LOG_INF("Lights output %s", on ? "ON" : "OFF");
	return 0;
}
```

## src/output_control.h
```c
#ifndef SRC_OUTPUT_CONTROL_H_
#define SRC_OUTPUT_CONTROL_H_

#include <stdbool.h>

/* Returns 0 on success, negative errno on failure. */
int output_control_init(void);
int output_control_set(bool on);

#endif /* SRC_OUTPUT_CONTROL_H_ */
```

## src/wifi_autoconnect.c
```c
#include "wifi_autoconnect.h"
#include "config.h"

#include <errno.h>
#include <string.h>

#include <zephyr/kernel.h>
#include <zephyr/logging/log.h>
#include <zephyr/net/net_if.h>
#include <zephyr/net/net_ip.h>
#include <zephyr/net/net_mgmt.h>
#include <zephyr/net/wifi_mgmt.h>

LOG_MODULE_REGISTER(wifi_autoconnect, LOG_LEVEL_INF);

static bool started;
static int64_t next_attempt_ms;
static struct net_mgmt_event_callback wifi_cb;

/* Retry timings */
#define INITIAL_DELAY_MS 2000
#define RETRY_MS 20000
#define QUICK_RETRY_MS 5000

static bool has_ipv4(void)
{
    struct net_if *iface = net_if_get_default();
    if (!iface) {
        return false;
    }
    return net_if_ipv4_get_global_addr(iface, NET_ADDR_PREFERRED) != NULL;
}

static void wifi_event_cb(struct net_mgmt_event_callback *cb,
                          uint64_t mgmt_event,
                          struct net_if *iface)
{
    ARG_UNUSED(cb);
    ARG_UNUSED(iface);

    if (!cb->info || cb->info_length != sizeof(struct wifi_status)) {
        return;
    }

    const struct wifi_status *st = (const struct wifi_status *)cb->info;
    int code = st->status;

    if (mgmt_event == NET_EVENT_WIFI_CONNECT_RESULT) {
        int mapped = code;
        if (mapped == -ETIMEDOUT) {
            mapped = WIFI_STATUS_CONN_TIMEOUT;
        }
        LOG_INF("WiFi connect result: %s (%d)", wifi_conn_status_txt(mapped), code);
        if (mapped != WIFI_STATUS_CONN_SUCCESS) {
            next_attempt_ms = k_uptime_get() + QUICK_RETRY_MS;
        }
    } else if (mgmt_event == NET_EVENT_WIFI_DISCONNECT_RESULT) {
        LOG_WRN("WiFi disconnect event code: %d", code);
        next_attempt_ms = k_uptime_get() + QUICK_RETRY_MS;
    }
}

static int do_connect(void)
{
    struct net_if *iface = net_if_get_default();
    if (!iface) {
        return -ENODEV;
    }

    uint8_t ssid_buf[WIFI_SSID_MAX_LEN + 1] = {0};
    uint8_t psk_buf[WIFI_PSK_MAX_LEN + 1] = {0};
    size_t ssid_len = strlen(WIFI_SSID);
    size_t psk_len = strlen(WIFI_PASSWORD);

    if (ssid_len == 0 || ssid_len > WIFI_SSID_MAX_LEN) {
        return -EINVAL;
    }

    memcpy(ssid_buf, WIFI_SSID, ssid_len);

    struct wifi_connect_req_params params = {
        .ssid = ssid_buf,
        .ssid_length = (uint8_t)ssid_len,
        .channel = WIFI_CHANNEL_ANY,
        .band = WIFI_FREQ_BAND_UNKNOWN,
        .mfp = WIFI_MFP_OPTIONAL,
        .timeout = 20,
    };

    if (psk_len > 0) {
        if (psk_len < WIFI_PSK_MIN_LEN || psk_len > WIFI_PSK_MAX_LEN) {
            return -EINVAL;
        }
        memcpy(psk_buf, WIFI_PASSWORD, psk_len);
        params.psk = psk_buf;
        params.psk_length = (uint8_t)psk_len;
        params.security = WIFI_SECURITY_TYPE_PSK;
    } else {
        params.security = WIFI_SECURITY_TYPE_NONE;
    }

    return net_mgmt(NET_REQUEST_WIFI_CONNECT, iface, &params, sizeof(params));
}

int wifi_autoconnect_start(void)
{
    if (started) {
        return 0;
    }

    net_mgmt_init_event_callback(&wifi_cb, wifi_event_cb,
                                 NET_EVENT_WIFI_CONNECT_RESULT |
                                 NET_EVENT_WIFI_DISCONNECT_RESULT);
    net_mgmt_add_event_callback(&wifi_cb);

    next_attempt_ms = k_uptime_get() + INITIAL_DELAY_MS;
    started = true;
    LOG_INF("Auto-connect manager started (SSID: %s)", WIFI_SSID);
    return 0;
}

void wifi_autoconnect_poll(void)
{
    if (!started) {
        return;
    }

    if (has_ipv4()) {
        return;
    }

    int64_t now = k_uptime_get();
    if (now < next_attempt_ms) {
        return;
    }

    int ret = do_connect();
    if (ret == 0 || ret == -EINPROGRESS || ret == -EALREADY) {
        LOG_INF("Auto-connect attempt issued (SSID: %s)", WIFI_SSID);
        next_attempt_ms = now + RETRY_MS;
    } else {
        LOG_WRN("Auto-connect request failed: %d", ret);
        next_attempt_ms = now + QUICK_RETRY_MS;
    }
}

bool wifi_autoconnect_is_connected(void)
{
    return has_ipv4();
}
```

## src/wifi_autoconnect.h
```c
#ifndef WIFI_AUTOCONNECT_H_
#define WIFI_AUTOCONNECT_H_

#include <stdbool.h>

#ifdef __cplusplus
extern "C" {
#endif

int wifi_autoconnect_start(void);
void wifi_autoconnect_poll(void);
bool wifi_autoconnect_is_connected(void);

#ifdef __cplusplus
}
#endif

#endif /* WIFI_AUTOCONNECT_H_ */
```
